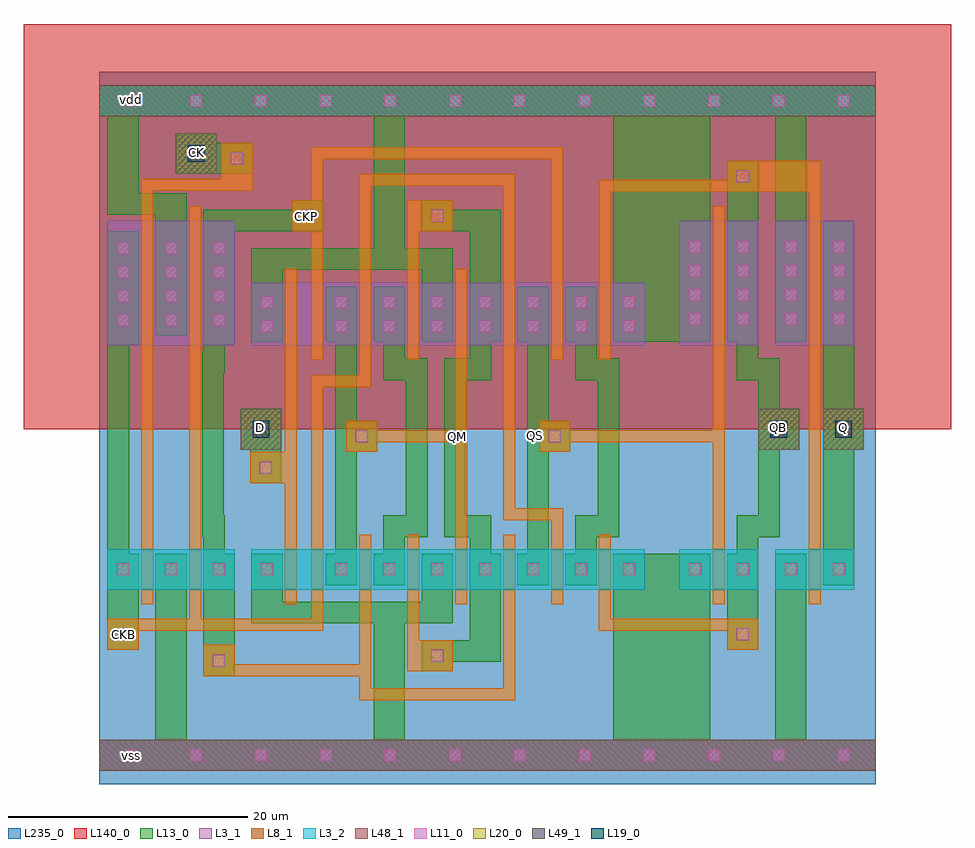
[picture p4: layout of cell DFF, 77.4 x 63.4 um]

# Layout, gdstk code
import gdstk
lib = gdstk.Library(unit=1e-6, precision=1e-09)
def R(c, l, rs):  # rectangles x0, y0, x1, y1
    for r in rs: c.add(gdstk.rectangle(r[:2], r[2:], *l))
def A(c, l, x, y, w, h, nx, ny, dx, dy):  # array of equal rectangles
    R(c, l, [(x+i*dx, y+j*dy, x+i*dx+w, y+j*dy+h) for i in range(nx) for j in range(ny)])
def P(c, l, *ps):  # polygons
    for p in ps: c.add(gdstk.Polygon(p, *l))
L3_1 = (3, 1)
L3_2 = (3, 2)
L8_1 = (8, 1)
L11_0 = (11, 0)
L13_0 = (13, 0)
L19_0 = (19, 0)
L20_0 = (20, 0)
L48_1 = (48, 1)
L49_1 = (49, 1)
L140_0 = (140, 0)
L235_0 = (235, 0)

dff = lib.new_cell('DFF')
R(dff, L3_1, [(0,1.1,64.8,3.7), (0.7,36.6,11.3,47), (12.7,36.6,45.5,41.8), (48.4,36.6,55,47), (56.4,36.6,63,47)])
R(dff, L3_2, [(0.7,16.2,11.3,19.6), (12.7,16.2,45.5,19.6), (48.4,16.2,55,19.6), (56.4,16.2,63,19.6), (0,55.7,64.8,58.3)])
P(dff, L8_1, [(25.7,9.4),(25.7,20.8),(26.7,20.8),(26.7,12),(29.5,12),(29.5,9.4)],
  [(21.7,7),(21.7,9),(8.7,9),(8.7,11.6),(11.3,11.6),(11.3,10),(21.7,10),(21.7,20.8),(22.7,20.8),(22.7,8),(33.7,8),(33.7,20.8),(34.7,20.8),(34.7,7)],
  [(52.4,11.2),(52.4,12.8),(41.7,12.8),(41.7,20.8),(42.7,20.8),(42.7,13.8),(55,13.8),(55,11.2)],
  [(15.5,15),(15.5,25.1),(12.6,25.1),(12.6,27.7),(15.5,27.7),(15.5,43),(16.5,43),(16.5,15)],
  [(29.7,15),(29.7,28.5),(23.2,28.5),(23.2,27.7),(20.6,27.7),(20.6,30.3),(23.2,30.3),(23.2,29.5),(29.7,29.5),(29.7,43),(30.7,43),(30.7,15)],
  [(51.2,15),(51.2,28.5),(39.3,28.5),(39.3,27.7),(36.7,27.7),(36.7,30.3),(39.3,30.3),(39.3,29.5),(51.2,29.5),(51.2,48.2),(52.2,48.2),(52.2,15)],
  [(25.7,35.4),(25.7,48.7),(29.5,48.7),(29.5,46.1),(26.7,46.1),(26.7,35.4)],
  [(0.7,11.2),(0.7,13.8),(7.5,13.8),(7.5,48.2),(8.5,48.2),(8.5,13.8),(17.7,13.8),(17.7,34.1),(21.7,34.1),(21.7,50.9),(34.7,50.9),(34.7,23),(38.7,23),(38.7,15),(37.7,15),(37.7,22),(33.7,22),(33.7,49.9),(22.7,49.9),(22.7,33.1),(18.7,33.1),(18.7,12.8),(3.3,12.8),(3.3,11.2)],
  [(59.2,15),(59.2,49.4),(42.7,49.4),(42.7,35.4),(41.7,35.4),(41.7,50.4),(52.4,50.4),(52.4,52),(60.2,52),(60.2,15)],
  [(17.7,35.4),(17.7,46.1),(16.1,46.1),(16.1,48.7),(17.7,48.7),(17.7,53.1),(38.7,53.1),(38.7,35.4),(37.7,35.4),(37.7,52.1),(18.7,52.1),(18.7,35.4)],
  [(3.5,15),(3.5,50.5),(10.2,50.5),(10.2,53.5),(12.8,53.5),(12.8,49.5),(4.5,49.5),(4.5,15)])
A(dff, L11_0, 2.2, 1.9, 1, 1, 12, 2, 5.4, 54.6)
A(dff, L11_0, 1.5, 17.4, 1, 1, 4, 1, 4, 0)
A(dff, L11_0, 1.5, 38.2, 1, 1, 3, 4, 4, 2)
A(dff, L11_0, 49.2, 40.3, 1, 1, 1, 3, 0, 2)
R(dff, L11_0, [(9.5,9.8,10.5,10.8), (27.7,10.2,28.7,11.2), (1.5,12,2.5,13), (53.2,12,54.2,13), (19.7,17.4,20.7,18.4), (19.7,17.4,20.7,18.4), (23.7,17.4,24.7,18.4), (23.7,17.4,24.7,18.4), (27.7,17.4,28.7,18.4), (27.7,17.4,28.7,18.4), (27.7,17.4,28.7,18.4), (27.7,17.4,28.7,18.4), (31.7,17.4,32.7,18.4), (31.7,17.4,32.7,18.4), (35.7,17.4,36.7,18.4), (35.7,17.4,36.7,18.4), (35.7,17.4,36.7,18.4), (35.7,17.4,36.7,18.4), (39.7,17.4,40.7,18.4), (39.7,17.4,40.7,18.4), (43.7,17.4,44.7,18.4), (49.2,17.4,50.2,18.4), (49.2,17.4,50.2,18.4), (49.2,17.4,50.2,18.4), (49.2,17.4,50.2,18.4), (49.2,17.4,50.2,18.4), (49.2,17.4,50.2,18.4), (53.2,17.4,54.2,18.4), (53.2,17.4,54.2,18.4), (57.2,17.4,58.2,18.4), (57.2,17.4,58.2,18.4), (61.2,17.4,62.2,18.4), (13.4,25.9,14.4,26.9), (21.4,28.5,22.4,29.5), (37.5,28.5,38.5,29.5), (13.5,37.7,14.5,38.7), (19.7,37.7,20.7,38.7), (19.7,37.7,20.7,38.7), (23.7,37.7,24.7,38.7), (23.7,37.7,24.7,38.7), (27.7,37.7,28.7,38.7), (27.7,37.7,28.7,38.7), (27.7,37.7,28.7,38.7), (27.7,37.7,28.7,38.7), (31.7,37.7,32.7,38.7), (31.7,37.7,32.7,38.7), (35.7,37.7,36.7,38.7), (35.7,37.7,36.7,38.7), (35.7,37.7,36.7,38.7), (35.7,37.7,36.7,38.7), (39.7,37.7,40.7,38.7), (39.7,37.7,40.7,38.7), (43.7,37.7,44.7,38.7), (49.2,38.3,50.2,39.3), (49.2,38.3,50.2,39.3), (49.2,38.3,50.2,39.3), (49.2,38.3,50.2,39.3), (49.2,38.3,50.2,39.3), (53.2,38.3,54.2,39.3), (53.2,38.3,54.2,39.3), (53.2,38.3,54.2,39.3), (57.2,38.3,58.2,39.3), (57.2,38.3,58.2,39.3), (61.2,38.3,62.2,39.3), (61.2,38.3,62.2,39.3), (13.5,39.7,14.5,40.7), (19.7,39.7,20.7,40.7), (19.7,39.7,20.7,40.7), (23.7,39.7,24.7,40.7), (23.7,39.7,24.7,40.7), (27.7,39.7,28.7,40.7), (27.7,39.7,28.7,40.7), (27.7,39.7,28.7,40.7), (27.7,39.7,28.7,40.7), (31.7,39.7,32.7,40.7), (31.7,39.7,32.7,40.7), (35.7,39.7,36.7,40.7), (35.7,39.7,36.7,40.7), (35.7,39.7,36.7,40.7), (35.7,39.7,36.7,40.7), (39.7,39.7,40.7,40.7), (39.7,39.7,40.7,40.7), (43.7,39.7,44.7,40.7), (49.2,40.3,50.2,41.3), (49.2,40.3,50.2,41.3), (49.2,40.3,50.2,41.3), (49.2,40.3,50.2,41.3), (49.2,40.3,50.2,41.3), (53.2,40.3,54.2,41.3), (53.2,40.3,54.2,41.3), (53.2,40.3,54.2,41.3), (57.2,40.3,58.2,41.3), (57.2,40.3,58.2,41.3), (61.2,40.3,62.2,41.3), (61.2,40.3,62.2,41.3), (53.2,42.3,54.2,43.3), (53.2,42.3,54.2,43.3), (53.2,42.3,54.2,43.3), (57.2,42.3,58.2,43.3), (57.2,42.3,58.2,43.3), (57.2,42.3,58.2,43.3), (57.2,42.3,58.2,43.3), (61.2,42.3,62.2,43.3), (61.2,42.3,62.2,43.3), (53.2,44.3,54.2,45.3), (53.2,44.3,54.2,45.3), (53.2,44.3,54.2,45.3), (57.2,44.3,58.2,45.3), (57.2,44.3,58.2,45.3), (57.2,44.3,58.2,45.3), (57.2,44.3,58.2,45.3), (61.2,44.3,62.2,45.3), (61.2,44.3,62.2,45.3), (16.9,46.9,17.9,47.9), (27.7,46.9,28.7,47.9), (53.2,50.2,54.2,51.2), (11,51.7,12,52.7)])
R(dff, L13_0, [(0,1.1,64.8,3.7), (4.7,3.7,7.3,19.2), (42.9,3.7,51,19.2), (56.4,3.7,59,19.2), (42.9,36.9,51,55.7), (56.4,36.9,59,55.7), (0,55.7,64.8,58.3)])
P(dff, L13_0, [(22.9,3.7),(22.9,13.4),(12.7,13.4),(12.7,19.2),(15.3,19.2),(15.3,15.2),(26.9,15.2),(26.9,19.2),(29.5,19.2),(29.5,13.4),(25.5,13.4),(25.5,3.7)],
  [(12.6,25.1),(12.6,27.9),(11.8,27.9),(11.8,31.3),(15.2,31.3),(15.2,25.1)],
  [(18.9,16.6),(18.9,19.2),(19.7,19.2),(19.7,36.9),(18.9,36.9),(18.9,41.5),(21.5,41.5),(21.5,30.3),(23.2,30.3),(23.2,27.7),(21.5,27.7),(21.5,16.6)],
  [(22.9,16.6),(22.9,19.2),(23.7,19.2),(23.7,22.4),(25.6,22.4),(25.6,33.7),(23.7,33.7),(23.7,36.9),(22.9,36.9),(22.9,41.5),(25.5,41.5),(25.5,35.5),(27.4,35.5),(27.4,20.6),(25.5,20.6),(25.5,16.6)],
  [(34.9,16.6),(34.9,19.2),(35.7,19.2),(35.7,36.9),(34.9,36.9),(34.9,41.5),(37.5,41.5),(37.5,30.3),(39.3,30.3),(39.3,27.7),(37.5,27.7),(37.5,16.6)],
  [(38.9,16.6),(38.9,19.2),(39.7,19.2),(39.7,22.4),(41.6,22.4),(41.6,33.7),(39.7,33.7),(39.7,36.9),(38.9,36.9),(38.9,41.5),(41.5,41.5),(41.5,35.5),(43.4,35.5),(43.4,20.6),(41.5,20.6),(41.5,16.6)],
  [(0.7,11.2),(0.7,46.1),(3.3,46.1),(3.3,36.6),(2.5,36.6),(2.5,19.2),(3.3,19.2),(3.3,11.2)],
  [(60.4,16.6),(60.4,47),(63,47),(63,31.3),(63.8,31.3),(63.8,27.9),(63,27.9),(63,16.6)],
  [(8.7,9),(8.7,20.6),(8.6,20.6),(8.6,36.1),(8.7,36.1),(8.7,47.9),(16.1,47.9),(16.1,48.7),(18.7,48.7),(18.7,46.1),(11.3,46.1),(11.3,36.6),(10.5,36.6),(10.5,34.3),(10.4,34.3),(10.4,22.4),(10.5,22.4),(10.5,19.2),(11.3,19.2),(11.3,9)],
  [(26.9,9.4),(26.9,12),(30.9,12),(30.9,20.6),(28.8,20.6),(28.8,35.5),(30.9,35.5),(30.9,46.1),(26.9,46.1),(26.9,48.7),(29.5,48.7),(29.5,47.9),(33.5,47.9),(33.5,36.9),(32.7,36.9),(32.7,33.7),(30.6,33.7),(30.6,22.4),(32.7,22.4),(32.7,19.2),(33.5,19.2),(33.5,10.2),(29.5,10.2),(29.5,9.4)],
  [(52.4,11.2),(52.4,19.2),(53.2,19.2),(53.2,22.4),(55,22.4),(55,33.7),(53.2,33.7),(53.2,36.9),(52.4,36.9),(52.4,52),(55,52),(55,35.5),(56.8,35.5),(56.8,31.3),(58.4,31.3),(58.4,27.9),(56.8,27.9),(56.8,20.6),(55,20.6),(55,11.2)],
  [(6.4,50.9),(6.4,54.3),(9.8,54.3),(9.8,53.5),(12.8,53.5),(12.8,50.9)],
  [(4.7,37.4),(4.7,47.5),(0.7,47.5),(0.7,55.7),(3.3,55.7),(3.3,49.3),(7.3,49.3),(7.3,37.4)],
  [(12.7,36.9),(12.7,44.7),(22.9,44.7),(22.9,55.7),(25.5,55.7),(25.5,44.7),(29.5,44.7),(29.5,36.9),(26.9,36.9),(26.9,42.9),(15.3,42.9),(15.3,36.9)])
R(dff, L19_0, [(12.8,28.9,14.2,30.3), (56,28.9,57.4,30.3), (61.4,28.9,62.8,30.3), (7.4,51.9,8.8,53.3)])
R(dff, L20_0, [(11.8,27.9,15.2,31.3), (55,27.9,58.4,31.3), (60.4,27.9,63.8,31.3), (6.4,50.9,9.8,54.3)])
R(dff, L48_1, [(0,1.1,64.8,3.7), (0,55.7,64.8,58.3)])
R(dff, L49_1, [(11.8,27.9,15.2,31.3), (55,27.9,58.4,31.3), (60.4,27.9,63.8,31.3), (6.4,50.9,9.8,54.3)])
R(dff, L140_0, [(-6.3,29.6,71.1,63.4)])
R(dff, L235_0, [(0,0,64.8,59.4)])
dff.add(gdstk.Label('CK', (8.1,52.7), layer=49, texttype=0))
dff.add(gdstk.Label('D', (13.5,29.7), layer=49, texttype=0))
dff.add(gdstk.Label('QB', (56.7,29.7), layer=49, texttype=0))
dff.add(gdstk.Label('Q', (62.1,29.7), layer=49, texttype=0))
dff.add(gdstk.Label('vss', (2.7,2.4), layer=48, texttype=0))
dff.add(gdstk.Label('vdd', (2.7,57.1), layer=48, texttype=0))
dff.add(gdstk.Label('CKP', (17.3,47.3), layer=48, texttype=0))
dff.add(gdstk.Label('CKB', (2,12.5), layer=48, texttype=0))
dff.add(gdstk.Label('QM', (29.9,29), layer=48, texttype=0))
dff.add(gdstk.Label('QS', (36.4,29.1), layer=48, texttype=0))

lib.write_gds('DFF.gds')
